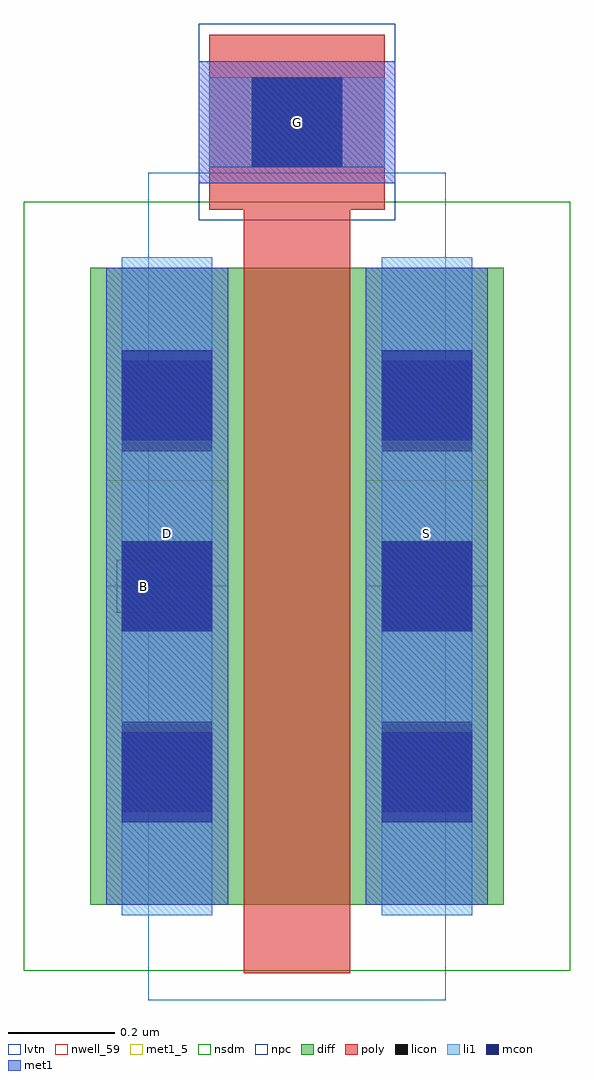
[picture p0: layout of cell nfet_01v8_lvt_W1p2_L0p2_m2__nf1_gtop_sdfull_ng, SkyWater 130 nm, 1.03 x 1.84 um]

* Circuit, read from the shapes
.subckt nfet_01v8_lvt_W1p2_L0p2_m2__nf1_gtop_sdfull_ng B D G S
XM1 S G D B sky130_fd_pr__nfet_01v8_lvt w=1.2 l=0.2
.ends

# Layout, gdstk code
import gdstk
lib = gdstk.Library(unit=1e-6, precision=1e-09)
def R(c, l, rs):  # rectangles x0, y0, x1, y1
    for r in rs: c.add(gdstk.rectangle(r[:2], r[2:], *l))
def A(c, l, x, y, w, h, nx, ny, dx, dy):  # array of equal rectangles
    R(c, l, [(x+i*dx, y+j*dy, x+i*dx+w, y+j*dy+h) for i in range(nx) for j in range(ny)])
nwell_59 = (64, 59)
diff = (65, 20)
poly = (66, 20)
licon = (66, 44)
li1 = (67, 20)
mcon = (67, 44)
met1_5 = (68, 5)
met1 = (68, 20)
nsdm = (93, 44)
npc = (95, 20)
lvtn = (125, 44)

sky130_fd_pr__nfet_01v8_ = lib.new_cell('sky130_fd_pr__nfet_01v8_lvt_CWMMG4')
R(sky130_fd_pr__nfet_01v8_, diff, [(-0.39,-0.755,0.39,0.445)])
R(sky130_fd_pr__nfet_01v8_, poly, [(-0.1,-0.885,0.1,0.555), (-0.165,0.555,0.165,0.885)])
A(sky130_fd_pr__nfet_01v8_, licon, -0.33, -0.58, 0.17, 0.17, 1, 3, 0, 0.34)
A(sky130_fd_pr__nfet_01v8_, licon, 0.16, -0.58, 0.17, 0.17, 1, 3, 0, 0.34)
R(sky130_fd_pr__nfet_01v8_, licon, [(-0.085,0.635,0.085,0.805)])
R(sky130_fd_pr__nfet_01v8_, li1, [(-0.33,-0.775,-0.16,0.465), (0.16,-0.775,0.33,0.465), (-0.165,0.635,0.165,0.805)])
A(sky130_fd_pr__nfet_01v8_, mcon, -0.33, -0.6, 0.17, 0.17, 1, 3, 0, 0.36)
A(sky130_fd_pr__nfet_01v8_, mcon, 0.16, -0.6, 0.17, 0.17, 1, 3, 0, 0.36)
R(sky130_fd_pr__nfet_01v8_, mcon, [(-0.085,0.635,0.085,0.805)])
R(sky130_fd_pr__nfet_01v8_, met1, [(-0.36,-0.755,-0.13,0.445), (0.13,-0.755,0.36,0.445), (-0.145,0.605,0.145,0.835)])
R(sky130_fd_pr__nfet_01v8_, nsdm, [(-0.515,-0.88,0.515,0.57)])
R(sky130_fd_pr__nfet_01v8_, npc, [(-0.185,0.535,0.185,0.905)])
R(sky130_fd_pr__nfet_01v8_, lvtn, [(-0.28,-0.935,0.28,0.625)])
sky130_fd_pr__nfet_01v8_.add(gdstk.Label('D', (-0.245,-0.155), layer=67, texttype=5))
sky130_fd_pr__nfet_01v8_.add(gdstk.Label('S', (0.245,-0.155), layer=67, texttype=5))
sky130_fd_pr__nfet_01v8_.add(gdstk.Label('G', (0,0.72), layer=67, texttype=5))

nfet_01v8_lvt_w1p2_l0p2_ = lib.new_cell('nfet_01v8_lvt_W1p2_L0p2_m2__nf1_gtop_sdfull_ng')
R(nfet_01v8_lvt_w1p2_l0p2_, nwell_59, [(0.05,0.68,0.15,0.78)])
R(nfet_01v8_lvt_w1p2_l0p2_, met1_5, [(0.03,0.73,0.26,0.93), (0.52,0.73,0.75,0.93), (0.205,1.49,0.575,1.72)])
R(nfet_01v8_lvt_w1p2_l0p2_, met1, [(0.03,0.73,0.26,0.93), (0.52,0.73,0.75,0.93), (0.205,1.49,0.575,1.72)])
nfet_01v8_lvt_w1p2_l0p2_.add(gdstk.Reference(sky130_fd_pr__nfet_01v8_, (0.39,0.885)))
nfet_01v8_lvt_w1p2_l0p2_.add(gdstk.Label('D', (0.145,0.83), layer=68, texttype=5))
nfet_01v8_lvt_w1p2_l0p2_.add(gdstk.Label('S', (0.635,0.83), layer=68, texttype=5))
nfet_01v8_lvt_w1p2_l0p2_.add(gdstk.Label('G', (0.39,1.605), layer=68, texttype=5))
nfet_01v8_lvt_w1p2_l0p2_.add(gdstk.Label('B', (0.1,0.73), layer=64, texttype=59))

lib.write_gds('nfet_01v8_lvt_W1p2_L0p2_m2__nf1_gtop_sdfull_ng.gds')
